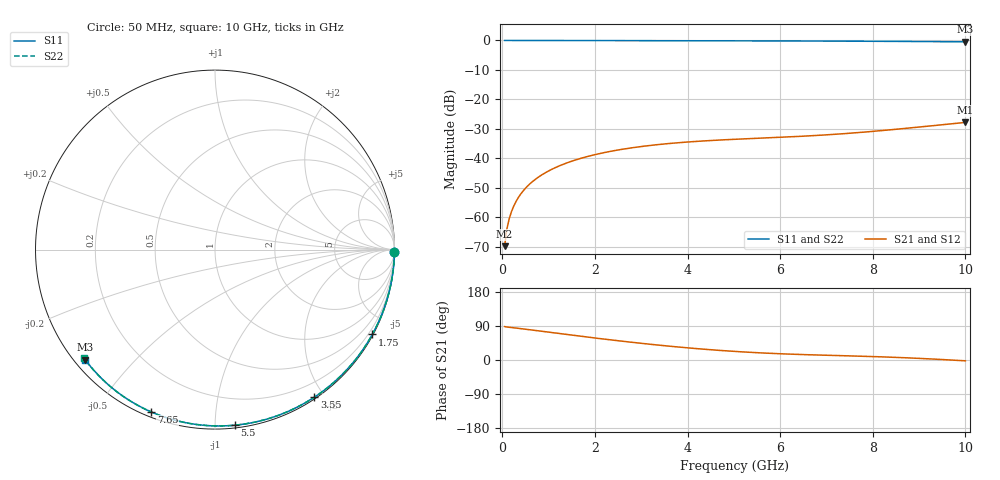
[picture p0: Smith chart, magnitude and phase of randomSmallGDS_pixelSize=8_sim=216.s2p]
! freq	dB(S11)	phase(S11)	dB(S12)	phase(S12)
!  dB(S21)	phase(S21)	dB(S22)	phase(S22)
!S-par simulation data
#  GHz  S  DB  R 50
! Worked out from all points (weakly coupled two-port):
!   200 points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, 50 MHz to 10 GHz, reference 50 ohm
!   highest |S21| = -27.81 dB at 10 GHz (marker M1); lowest = -69.8 dB at 50 MHz (marker M2)
!   lowest |S11| = -0.5 dB at 10 GHz (marker M3), VSWR 37.54, Z = 1.51 - j18.3 ohm
!   |S11| at or under -10 dB: nowhere
!   |S22| runs from -0.5 to 0.0 dB; largest |S21 - S12| = 0
!   S11 on the Smith chart (normalised r, x): 50 MHz: open; 1.75 GHz: 0.03, -3.96; 3.55 GHz: 0.02, -1.88; 5.5 GHz: 0.02, -1.12; 7.65 GHz: 0.02, -0.68; 10 GHz: 0.03, -0.37
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0.05  -0.00 -0.8  -69.79 88.2  -69.79 88.2  -0.00 -0.8
0.1  -0.00 -1.7  -63.88 87.1  -63.88 87.1  -0.00 -1.7
0.15  -0.00 -2.5  -60.44 86.3  -60.44 86.3  -0.00 -2.5
0.2  -0.00 -3.3  -57.99 85.6  -57.99 85.6  -0.00 -3.3
0.25  -0.00 -4.1  -56.09 84.9  -56.09 84.9  -0.00 -4.2
0.35  -0.00 -5.8  -53.21 83.5  -53.21 83.5  -0.00 -5.8
0.5  -0.01 -8.2  -50.15 81.3  -50.15 81.3  -0.01 -8.3
0.7  -0.01 -11.5  -47.28 78.2  -47.28 78.2  -0.01 -11.6
1  -0.02 -16.3  -44.27 73.5  -44.27 73.5  -0.02 -16.5
1.35  -0.03 -22.0  -41.80 68.0  -41.80 68.0  -0.03 -22.1
1.75  -0.04 -28.3  -39.75 61.8  -39.75 61.8  -0.04 -28.6
2.5  -0.05 -40.1  -37.15 50.8  -37.15 50.8  -0.05 -40.4
3.4  -0.07 -53.8  -35.27 38.9  -35.27 38.9  -0.07 -54.2
3.55  -0.08 -56.0  -35.04 37.1  -35.04 37.1  -0.08 -56.4
4.3  -0.10 -67.0  -34.13 29.0  -34.13 29.0  -0.10 -67.4
5.05  -0.12 -77.5  -33.51 22.4  -33.51 22.4  -0.12 -78.0
5.5  -0.14 -83.7  -33.19 19.3  -33.19 19.3  -0.14 -84.2
6.7  -0.19 -99.5  -32.31 13.5  -32.31 13.5  -0.19 -100.1
7.65  -0.25 -111.4  -31.30 10.3  -31.30 10.3  -0.25 -112.1
8.35  -0.30 -120.0  -30.36 7.6  -30.36 7.6  -0.30 -120.7
9.2  -0.38 -130.2  -29.07 3.2  -29.07 3.2  -0.38 -131.0
10  -0.46 -139.7  -27.81 -2.1  -27.81 -2.1  -0.47 -140.6
